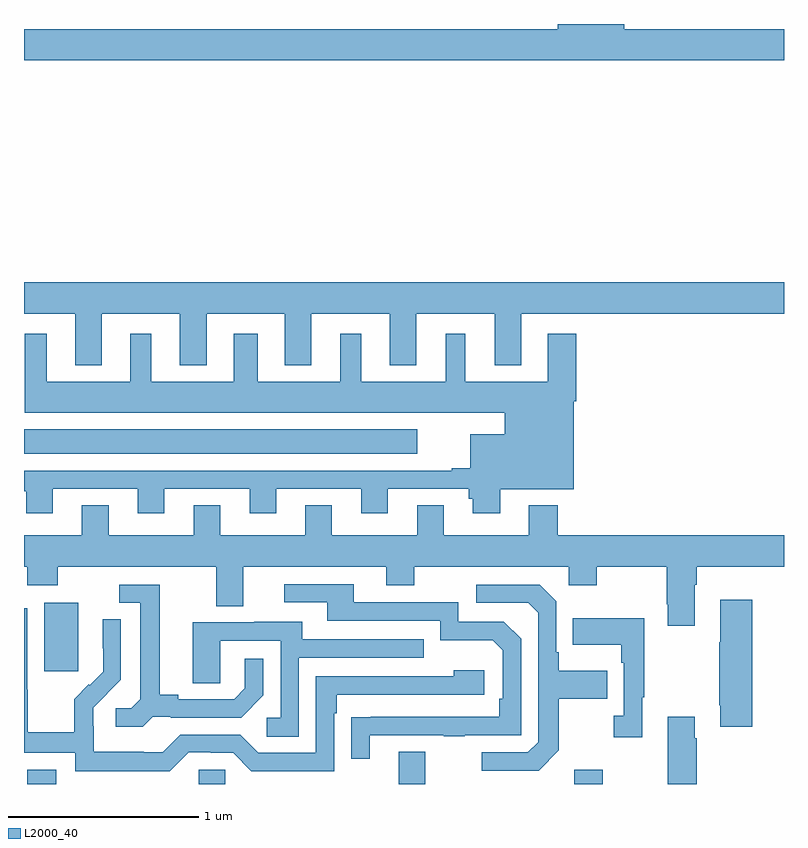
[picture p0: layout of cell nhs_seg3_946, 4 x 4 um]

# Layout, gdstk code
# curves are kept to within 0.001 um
import gdstk
lib = gdstk.Library(unit=1e-6, precision=1e-09)
def R(c, l, rs):  # rectangles x0, y0, x1, y1
    for r in rs: c.add(gdstk.rectangle(r[:2], r[2:], *l))
def P(c, l, *ps):  # polygons
    for p in ps: c.add(gdstk.Polygon(p, *l))
L2000_40 = (2000, 40)

nhs_seg3_946 = lib.new_cell('nhs_seg3_946')
R(nhs_seg3_946, L2000_40, [(159.017,738.4,159.169,738.475), (159.921,738.4,160.059,738.474), (160.973,738.4,161.113,738.571), (161.897,738.4,162.045,738.475), (159.107,738.993,159.286,739.354), (159,740.138,161.071,740.266)])
P(nhs_seg3_946, L2000_40, [(163,742.372),(162.16,742.372),(162.16,742.4),(161.81,742.4),(161.81,742.372),(159,742.372),(159,742.208),(163,742.208)],
  [(159.409,740.876),(159.821,740.876),(159.821,740.603),(159.961,740.603),(159.961,740.876),(160.373,740.876),(160.373,740.603),(160.513,740.603),(160.513,740.876),(160.925,740.876),(160.925,740.603),(161.065,740.603),(161.065,740.876),(161.477,740.876),(161.477,740.603),(161.617,740.603),(161.617,740.876),(163,740.876),(163,741.04),(159,741.04),(159,740.876),(159.269,740.876),(159.269,740.603),(159.409,740.603)],
  [(159.151,739.953),(159.599,739.953),(159.599,739.824),(159.739,739.824),(159.739,739.953),(160.187,739.953),(160.187,739.824),(160.327,739.824),(160.327,739.953),(160.775,739.953),(160.775,739.824),(160.915,739.824),(160.915,739.953),(161.341,739.953),(161.341,739.902),(161.363,739.902),(161.363,739.824),(161.506,739.824),(161.506,739.952),(161.893,739.952),(161.893,740.414),(161.906,740.414),(161.906,740.77),(161.756,740.77),(161.756,740.518),(161.323,740.518),(161.323,740.77),(161.219,740.77),(161.219,740.518),(160.774,740.518),(160.774,740.77),(160.664,740.77),(160.664,740.518),(160.231,740.518),(160.231,740.77),(160.103,740.77),(160.103,740.518),(159.67,740.518),(159.67,740.77),(159.56,740.77),(159.56,740.518),(159.121,740.518),(159.121,740.77),(159.005,740.77),(159.005,740.354),(161.531,740.354),(161.531,740.242),(161.348,740.242),(161.348,740.062),(161.252,740.062),(161.252,740.049),(159,740.049),(159,739.941),(159.011,739.941),(159.011,739.824),(159.151,739.824)],
  [(162.529,739.448),(162.542,739.448),(162.542,739.544),(163,739.544),(163,739.708),(161.81,739.708),(161.81,739.867),(161.657,739.867),(161.657,739.708),(161.209,739.708),(161.209,739.868),(161.069,739.868),(161.069,739.708),(160.621,739.708),(160.621,739.868),(160.481,739.868),(160.481,739.708),(160.033,739.708),(160.033,739.868),(159.893,739.868),(159.893,739.708),(159.445,739.708),(159.445,739.868),(159.305,739.868),(159.305,739.708),(159,739.708),(159,739.544),(159.017,739.544),(159.017,739.445),(159.177,739.445),(159.177,739.544),(160.013,739.544),(160.013,739.336),(160.153,739.336),(160.153,739.544),(160.907,739.544),(160.907,739.445),(161.055,739.445),(161.055,739.544),(161.868,739.544),(161.868,739.445),(162.015,739.445),(162.015,739.544),(162.382,739.544),(162.382,739.345),(162.389,739.345),(162.389,739.233),(162.529,739.233)],
  [(160.819,738.657),(161.209,738.657),(161.209,738.652),(161.321,738.652),(161.321,738.657),(161.616,738.657),(161.616,739.164),(161.526,739.254),(161.286,739.254),(161.286,739.356),(160.735,739.356),(160.735,739.452),(160.371,739.452),(160.371,739.356),(160.595,739.356),(160.595,739.26),(161.19,739.26),(161.19,739.157),(161.467,739.157),(161.52,739.104),(161.52,738.85),(161.5,738.85),(161.5,738.753),(160.723,738.752),(160.723,738.534),(160.819,738.534)],
  [(159.678,738.753),(159.772,738.753),(159.772,738.75),(160.144,738.75),(160.26,738.866),(160.26,739.06),(160.163,739.06),(160.163,738.903),(160.106,738.846),(159.811,738.846),(159.811,738.869),(159.715,738.869),(159.715,739.449),(159.501,739.449),(159.501,739.353),(159.611,739.353),(159.611,738.845),(159.564,738.798),(159.483,738.798),(159.483,738.701),(159.626,738.701)],
  [(161.815,738.577),(161.815,738.85),(162.071,738.85),(162.071,738.997),(161.815,738.997),(161.815,739.093),(161.802,739.093),(161.802,739.362),(161.715,739.449),(161.379,739.449),(161.379,739.353),(161.655,739.353),(161.706,739.302),(161.706,738.621),(161.652,738.567),(161.409,738.567),(161.409,738.471),(161.709,738.471)],
  [(162.833,739.369),(162.665,739.369),(162.665,739.145),(162.658,739.145),(162.658,738.814),(162.665,738.814),(162.665,738.702),(162.833,738.702)],
  [(159.867,738.567),(159.983,738.567),(159.983,738.564),(160.101,738.564),(160.197,738.468),(160.632,738.468),(160.632,738.773),(160.645,738.773),(160.645,738.87),(161.422,738.87),(161.422,739),(161.261,739),(161.261,738.966),(160.536,738.966),(160.536,738.564),(160.233,738.564),(160.137,738.66),(159.822,738.66),(159.729,738.567),(159.629,738.567),(159.629,738.571),(159.366,738.571),(159.366,738.705),(159.364,738.705),(159.364,738.802),(159.51,738.95),(159.51,739.268),(159.414,739.268),(159.414,739.114),(159.416,739.114),(159.416,738.992),(159.345,738.921),(159.342,738.924),(159.265,738.847),(159.265,738.673),(159.021,738.673),(159.021,738.896),(159.018,738.896),(159.018,739.326),(159,739.326),(159,738.564),(159.27,738.564),(159.27,738.467),(159.767,738.467)],
  [(162.253,738.857),(162.265,738.857),(162.265,739.273),(161.887,739.273),(161.887,739.133),(162.144,739.133),(162.144,739.037),(162.156,739.037),(162.156,738.758),(162.105,738.758),(162.105,738.645),(162.253,738.645)],
  [(160.446,739.065),(161.105,739.065),(161.105,739.161),(160.465,739.161),(160.465,739.255),(160.211,739.255),(160.211,739.251),(159.887,739.251),(159.887,738.931),(160.032,738.931),(160.032,739.155),(160.35,739.155),(160.35,738.75),(160.278,738.75),(160.278,738.649),(160.446,738.649)],
  [(162.542,738.641),(162.529,738.641),(162.529,738.754),(162.389,738.754),(162.389,738.4),(162.542,738.4)])

lib.write_gds('nhs_seg3_946.gds')
